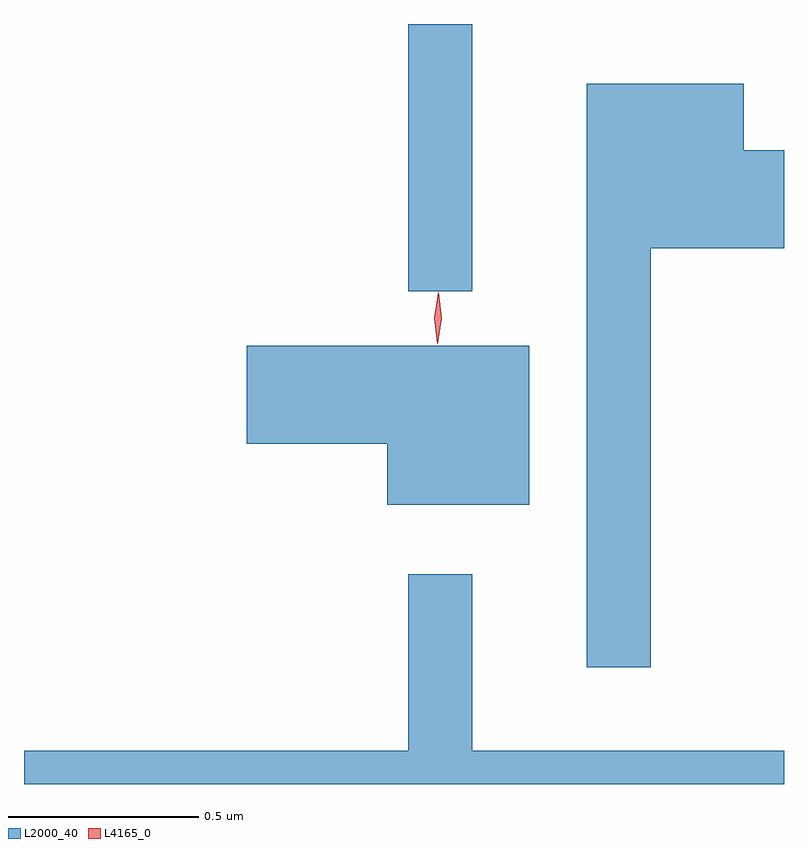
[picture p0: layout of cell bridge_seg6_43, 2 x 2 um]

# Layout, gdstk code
import gdstk
lib = gdstk.Library(unit=1e-6, precision=1e-09)
def R(c, l, rs):  # rectangles x0, y0, x1, y1
    for r in rs: c.add(gdstk.rectangle(r[:2], r[2:], *l))
def P(c, l, *ps):  # polygons
    for p in ps: c.add(gdstk.Polygon(p, *l))
L2000_40 = (2000, 40)
L4165_0 = (4165, 0)

bridge_seg6_43 = lib.new_cell('bridge_seg6_43')
R(bridge_seg6_43, L2000_40, [(1597.301,1646.973,1597.469,1647.676)])
P(bridge_seg6_43, L2000_40, [(1597.939,1647.086),(1598.29,1647.086),(1598.29,1647.344),(1598.184,1647.344),(1598.184,1647.519),(1597.771,1647.519),(1597.771,1645.983),(1597.939,1645.983)],
  [(1597.619,1646.829),(1596.876,1646.829),(1596.876,1646.571),(1597.246,1646.571),(1597.246,1646.411),(1597.619,1646.411)],
  [(1598.29,1645.764),(1597.469,1645.764),(1597.469,1646.228),(1597.301,1646.228),(1597.301,1645.764),(1596.29,1645.764),(1596.29,1645.676),(1598.29,1645.676)])
P(bridge_seg6_43, L4165_0, [(1597.378,1646.834),(1597.369,1646.902),(1597.38,1646.97),(1597.38,1646.97),(1597.381,1646.97),(1597.389,1646.902),(1597.379,1646.834),(1597.379,1646.834)],
  [(1597.378,1646.84),(1597.378,1646.841),(1597.369,1646.904),(1597.38,1646.966),(1597.38,1646.967),(1597.381,1646.966),(1597.389,1646.904),(1597.379,1646.841)])

lib.write_gds('bridge_seg6_43.gds')
